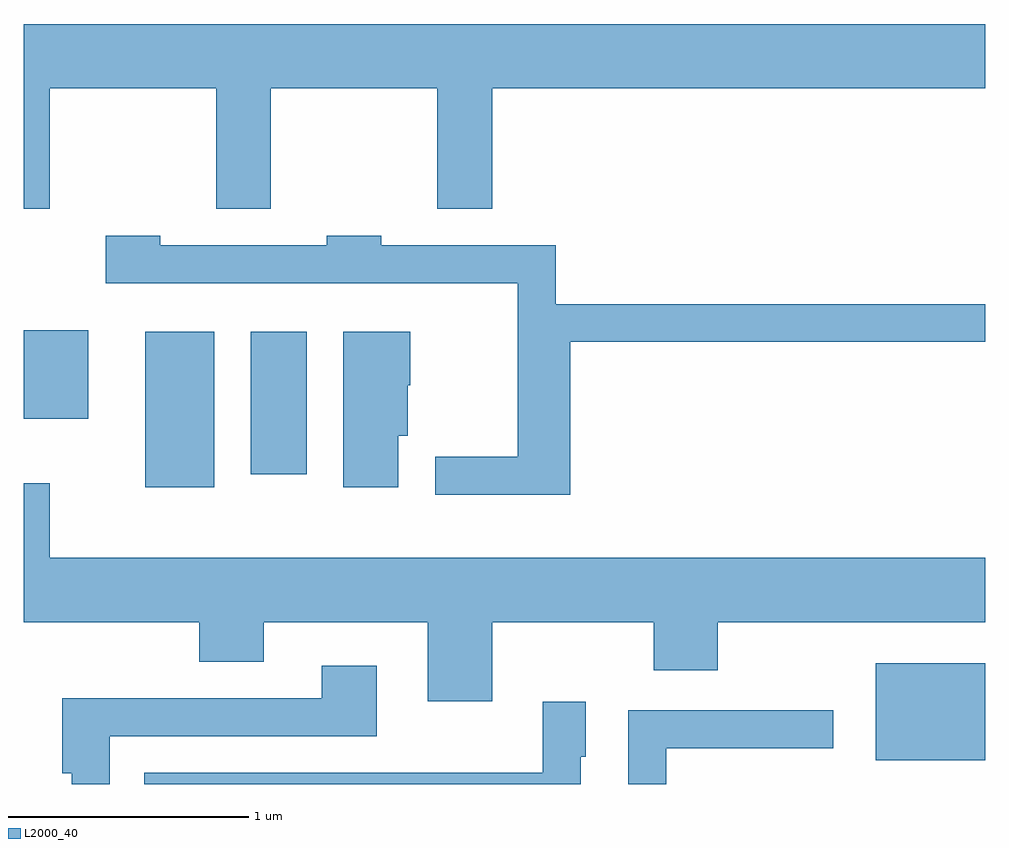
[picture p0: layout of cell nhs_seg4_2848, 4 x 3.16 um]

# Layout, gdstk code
import gdstk
lib = gdstk.Library(unit=1e-6, precision=1e-09)
def R(c, l, rs):  # rectangles x0, y0, x1, y1
    for r in rs: c.add(gdstk.rectangle(r[:2], r[2:], *l))
def P(c, l, *ps):  # polygons
    for p in ps: c.add(gdstk.Polygon(p, *l))
L2000_40 = (2000, 40)

nhs_seg4_2848 = lib.new_cell('nhs_seg4_2848')
R(nhs_seg4_2848, L2000_40, [(271.156,1374.081,271.611,1374.484), (268.116,1375.216,268.404,1375.864), (268.556,1375.271,268.789,1375.864), (267.611,1375.501,267.879,1375.869)])
P(nhs_seg4_2848, L2000_40, [(267.719,1376.876),(268.411,1376.876),(268.411,1376.376),(268.639,1376.376),(268.639,1376.876),(269.331,1376.876),(269.331,1376.376),(269.559,1376.376),(269.559,1376.876),(271.611,1376.876),(271.611,1377.144),(267.611,1377.144),(267.611,1376.376),(267.719,1376.376)],
  [(269.884,1375.821),(271.611,1375.821),(271.611,1375.979),(269.824,1375.979),(269.824,1376.224),(269.099,1376.224),(269.099,1376.264),(268.871,1376.264),(268.871,1376.224),(268.179,1376.224),(268.179,1376.264),(267.951,1376.264),(267.951,1376.066),(269.666,1376.066),(269.666,1375.344),(269.323,1375.344),(269.323,1375.186),(269.884,1375.186)],
  [(269.169,1375.431),(269.209,1375.431),(269.209,1375.64),(269.219,1375.64),(269.219,1375.864),(268.941,1375.864),(268.941,1375.216),(269.169,1375.216)],
  [(267.719,1375.234),(267.611,1375.234),(267.611,1374.656),(268.341,1374.656),(268.341,1374.491),(268.609,1374.491),(268.609,1374.656),(269.291,1374.656),(269.291,1374.326),(269.559,1374.326),(269.559,1374.656),(270.231,1374.656),(270.231,1374.456),(270.499,1374.456),(270.499,1374.656),(271.611,1374.656),(271.611,1374.924),(267.719,1374.924)],
  [(267.969,1374.181),(269.079,1374.181),(269.079,1374.474),(268.851,1374.474),(268.851,1374.339),(267.771,1374.339),(267.771,1374.026),(267.811,1374.026),(267.811,1373.982),(267.969,1373.982)],
  [(269.929,1374.096),(269.949,1374.096),(269.949,1374.324),(269.771,1374.324),(269.771,1374.029),(268.113,1374.029),(268.113,1373.982),(269.929,1373.982)],
  [(270.284,1374.131),(270.978,1374.131),(270.978,1374.289),(270.126,1374.289),(270.126,1373.982),(270.284,1373.982)])

lib.write_gds('nhs_seg4_2848.gds')
